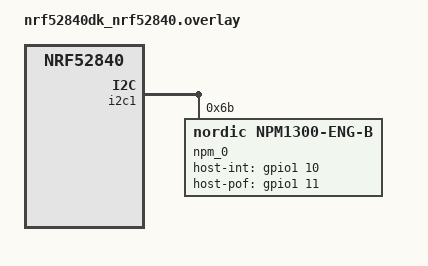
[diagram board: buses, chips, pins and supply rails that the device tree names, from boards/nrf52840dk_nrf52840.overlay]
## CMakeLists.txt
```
#
# Copyright (c) 2022 Nordic Semiconductor ASA
#
# SPDX-License-Identifier: Apache-2.0
#

cmake_minimum_required(VERSION 3.20.0)
find_package(Zephyr REQUIRED HINTS $ENV{ZEPHYR_BASE})
project(pmic_certification_fw)

FILE(GLOB app_sources src/*.c)
target_sources(app PRIVATE ${app_sources})
```

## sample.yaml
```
sample:
  description: Sample for nPM1300 PMIC simple configuration
  name: nPM1300 PMIC simple

common:
  integration_platforms:
    - nrf5340dk_nrf5340_cpuapp
    - nrf52840dk_nrf52840
  platform_allow: nrf5340dk_nrf5340_cpuapp nrf52840dk_nrf52840
  tags: pmic
  timeout: 30

tests:
  sample.pmic.vbusin_eng_b:
    extra_args: CONFIG_NPMX_DEVICE_NPM1300_ENG_B=y
    harness: console
    harness_config:
      fixture: nPM1300_setup_eng_b
      type: multi_line
      regex:
        - "PMIC device ok"
```

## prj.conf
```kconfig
#
# Copyright (c) 2022 Nordic Semiconductor ASA
#
# SPDX-License-Identifier: Apache-2.0
#

CONFIG_STDOUT_CONSOLE=y

CONFIG_I2C=y
CONFIG_GPIO=y
CONFIG_NPMX=y
CONFIG_NPMX_DEVICE_NPM1300_ENG_B=y
CONFIG_LOG=y
CONFIG_NPMX_LOG_LEVEL_DBG=y
CONFIG_SHELL=y
CONFIG_ASSERT=y
```

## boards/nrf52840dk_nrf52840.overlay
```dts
/*
 * Copyright (c) 2023 Nordic Semiconductor ASA
 *
 * SPDX-License-Identifier: Apache-2.0
 */

&i2c1 {
	compatible = "nordic,nrf-twim";
	status = "okay";

	npm_0: npm1300@6b {
		status = "okay";
		compatible = "nordic,npm1300-eng-b";
		reg = <0x6b>;
		host-int-gpios = <&gpio1 10 (GPIO_PULL_DOWN | GPIO_ACTIVE_HIGH)>;
		pmic-int-pin = <0>;
		host-pof-gpios = <&gpio1 11 (GPIO_PULL_DOWN | GPIO_ACTIVE_HIGH)>;
		pmic-pof-pin = <1>;

	};
};

&i2c1_default {
	group1 {
		psels = <NRF_PSEL(TWIM_SDA, 0, 26)>, <NRF_PSEL(TWIM_SCL, 0, 27)>;
		bias-pull-up;
	};
};
```

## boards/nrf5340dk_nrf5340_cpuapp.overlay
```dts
/*
 * Copyright (c) 2023 Nordic Semiconductor ASA
 *
 * SPDX-License-Identifier: Apache-2.0
 */

&i2c1 {
	compatible = "nordic,nrf-twim";
	status = "okay";

	npm_0: npm1300@6b {
		status = "okay";
		compatible = "nordic,npm1300-eng-b";
		reg = <0x6b>;
		host-int-gpios = <&gpio1 10 (GPIO_PULL_DOWN | GPIO_ACTIVE_HIGH)>;
		pmic-int-pin = <0>;
		host-pof-gpios = <&gpio1 11 (GPIO_PULL_DOWN | GPIO_ACTIVE_HIGH)>;
		pmic-pof-pin = <1>;

	};
};

&i2c1_default {
	group1 {
		bias-pull-up;
	};
};
```

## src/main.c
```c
/*
 * Copyright (c) 2022 Nordic Semiconductor ASA
 *
 * SPDX-License-Identifier: Apache-2.0
 */

#include <zephyr/logging/log.h>
#include <zephyr/kernel.h>
#include <npmx_adc.h>
#include <npmx_charger.h>
#include <npmx_core.h>
#include <npmx_driver.h>

#define LOG_MODULE_NAME pmic_simple
LOG_MODULE_REGISTER(LOG_MODULE_NAME);

/**
 * @brief Callback function to be used when VBUSIN THERMAL event occurs.
 *
 * @param[in] p_pm Pointer to the instance of nPM device.
 * @param[in] type Callback type. Should be @ref NPMX_CALLBACK_TYPE_EVENT_VBUSIN_THERMAL_USB.
 * @param[in] mask Received event interrupt mask.
 */
void vbusin_thermal_callback(npmx_instance_t *p_pm, npmx_callback_type_t type, uint8_t mask)
{
	npmx_vbusin_cc_t cc1;
	npmx_vbusin_cc_t cc2;
	npmx_vbusin_t *p_vbusin = npmx_vbusin_get(p_pm, 0);

	/* Get the status of CC lines. */
	if (npmx_vbusin_cc_status_get(p_vbusin, &cc1, &cc2) == NPMX_SUCCESS) {
		static npmx_vbusin_current_t vbusin_current_limits[] = {
			[NPMX_VBUSIN_CC_DEFAULT] = NPMX_VBUSIN_CURRENT_500_MA,
			[NPMX_VBUSIN_CC_HIGH_POWER_1A5] = NPMX_VBUSIN_CURRENT_1500_MA,
			[NPMX_VBUSIN_CC_HIGH_POWER_3A0] = NPMX_VBUSIN_CURRENT_1500_MA,
		};

		if (cc1 != NPMX_VBUSIN_CC_NOT_CONNECTED) {
			npmx_vbusin_current_limit_set(p_vbusin, vbusin_current_limits[cc1]);

		} else if (cc2 != NPMX_VBUSIN_CC_NOT_CONNECTED) {
			npmx_vbusin_current_limit_set(p_vbusin, vbusin_current_limits[cc2]);
		}
		npmx_vbusin_task_trigger(p_vbusin, NPMX_VBUSIN_TASK_APPLY_CURRENT_LIMIT);

		LOG_INF("CC1: %s", npmx_vbusin_cc_status_map_to_string(cc1));
		LOG_INF("CC2: %s", npmx_vbusin_cc_status_map_to_string(cc2));
	} else {
		LOG_ERR("Unable to read CC lines status.");
	}
}

void main(void)
{
	const struct device *pmic_dev = DEVICE_DT_GET(DT_NODELABEL(npm_0));

	if (!device_is_ready(pmic_dev)) {
		LOG_INF("PMIC device is not ready");
		return;
	}

	LOG_INF("PMIC device ok");

	/* Get pointer to npmx device. */
	npmx_instance_t *npmx_instance = npmx_driver_instance_get(pmic_dev);

	/* Get pointer to charger instance. */
	npmx_charger_t *charger_instance = npmx_charger_get(npmx_instance, 0);

	/* Register callback for VBUSIN thermal event used for detecting CC lines status. */
	npmx_core_register_cb(npmx_instance, vbusin_thermal_callback,
			      NPMX_EVENT_GROUP_VBUSIN_THERMAL);

	/* Enable detecting CC status changed. */
	npmx_core_event_interrupt_enable(npmx_instance, NPMX_EVENT_GROUP_VBUSIN_THERMAL,
					 NPMX_EVENT_GROUP_USB_CC1_MASK |
						 NPMX_EVENT_GROUP_USB_CC2_MASK);

	/* Disable charger before changing charge current. */
	npmx_charger_module_disable_set(charger_instance, NPMX_CHARGER_MODULE_CHARGER_MASK);

	/* Set termination voltage and charging current. */
	npmx_charger_termination_normal_voltage_set(charger_instance, NPMX_CHARGER_VOLTAGE_4V20);
	npmx_charger_charging_current_set(charger_instance, 800);

	/* Enable charger for events handling. */
	npmx_charger_module_enable_set(charger_instance,
				       NPMX_CHARGER_MODULE_CHARGER_MASK |
					       NPMX_CHARGER_MODULE_RECHARGE_MASK |
					       NPMX_CHARGER_MODULE_NTC_LIMITS_MASK);

	/* Set LEDs. */
	npmx_led_mode_set(npmx_led_get(npmx_instance, 0), NPMX_LED_MODE_CHARGING);
	npmx_led_mode_set(npmx_led_get(npmx_instance, 1), NPMX_LED_MODE_ERROR);
	npmx_led_mode_set(npmx_led_get(npmx_instance, 2), NPMX_LED_MODE_NOTUSED);

	/* Set NTC type for ADC measurements. */
	npmx_adc_ntc_set(npmx_adc_get(npmx_instance, 0), NPMX_ADC_NTC_TYPE_10_K);

	while (1) {
		k_sleep(K_FOREVER);
	}
}
```
